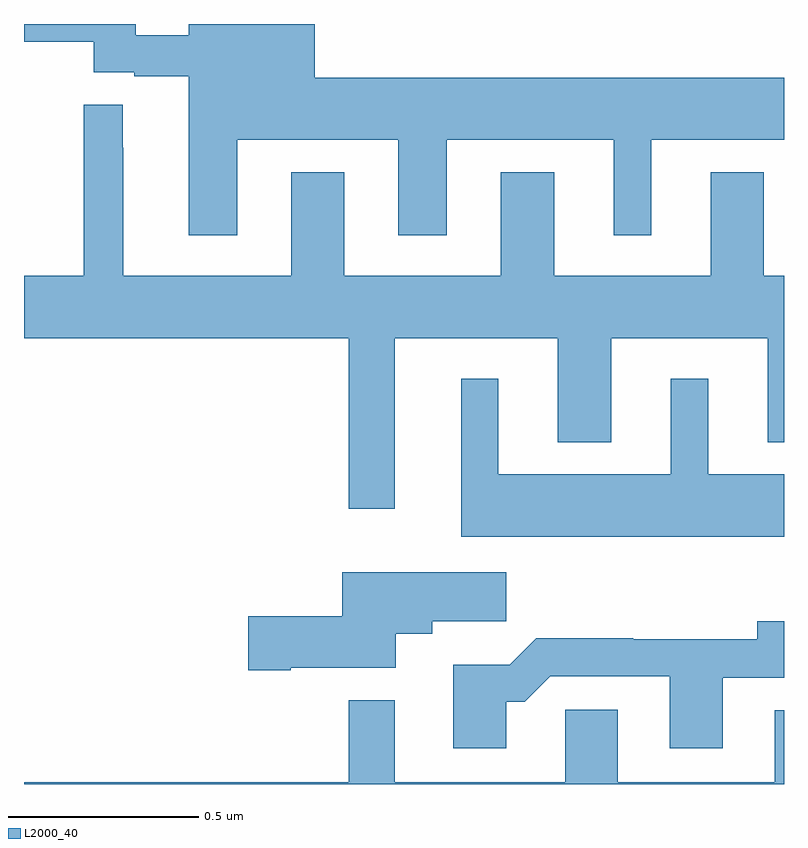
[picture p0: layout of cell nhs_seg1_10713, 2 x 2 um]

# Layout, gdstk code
import gdstk
lib = gdstk.Library(unit=1e-6, precision=1e-09)
def P(c, l, *ps):  # polygons
    for p in ps: c.add(gdstk.Polygon(p, *l))
L2000_40 = (2000, 40)

nhs_seg1_10713 = lib.new_cell('nhs_seg1_10713')
P(nhs_seg1_10713, L2000_40, [(244.561,578.894),(244.985,578.894),(244.985,578.643),(245.113,578.643),(245.113,578.894),(245.552,578.894),(245.552,578.643),(245.65,578.643),(245.65,578.894),(246,578.894),(246,579.058),(244.765,579.058),(244.765,579.199),(244.433,579.199),(244.433,579.169),(244.294,579.169),(244.294,579.199),(244,579.199),(244,579.152),(244.184,579.152),(244.184,579.072),(244.29,579.072),(244.29,579.061),(244.433,579.061),(244.433,578.643),(244.561,578.643)],
  [(244.975,578.372),(245.405,578.372),(245.405,578.099),(245.545,578.099),(245.545,578.372),(245.957,578.372),(245.957,578.099),(246,578.099),(246,578.536),(245.947,578.536),(245.947,578.809),(245.807,578.809),(245.807,578.536),(245.395,578.536),(245.395,578.809),(245.255,578.809),(245.255,578.536),(244.843,578.536),(244.843,578.809),(244.703,578.809),(244.703,578.536),(244.261,578.536),(244.261,578.873),(244.26,578.873),(244.26,578.986),(244.157,578.986),(244.157,578.536),(244,578.536),(244,578.372),(244.854,578.372),(244.854,577.923),(244.975,577.923)],
  [(246,578.014),(245.8,578.014),(245.8,578.266),(245.702,578.266),(245.702,578.014),(245.248,578.014),(245.248,578.266),(245.15,578.266),(245.15,577.85),(246,577.85)],
  [(244.702,577.505),(244.978,577.505),(244.978,577.595),(245.074,577.595),(245.074,577.627),(245.269,577.627),(245.269,577.756),(244.838,577.756),(244.838,577.64),(244.59,577.64),(244.59,577.498),(244.702,577.498)],
  [(245.269,577.415),(245.318,577.415),(245.385,577.482),(245.699,577.482),(245.699,577.293),(245.839,577.293),(245.839,577.479),(246,577.479),(246,577.627),(245.93,577.627),(245.93,577.58),(245.603,577.58),(245.603,577.583),(245.348,577.583),(245.278,577.513),(245.129,577.513),(245.129,577.293),(245.269,577.293)],
  [(246,577.393),(245.975,577.393),(245.975,577.204),(245.563,577.204),(245.563,577.394),(245.424,577.394),(245.424,577.204),(244.975,577.204),(244.975,577.42),(244.854,577.42),(244.854,577.204),(244,577.204),(244,577.199),(246,577.199)])

lib.write_gds('nhs_seg1_10713.gds')
